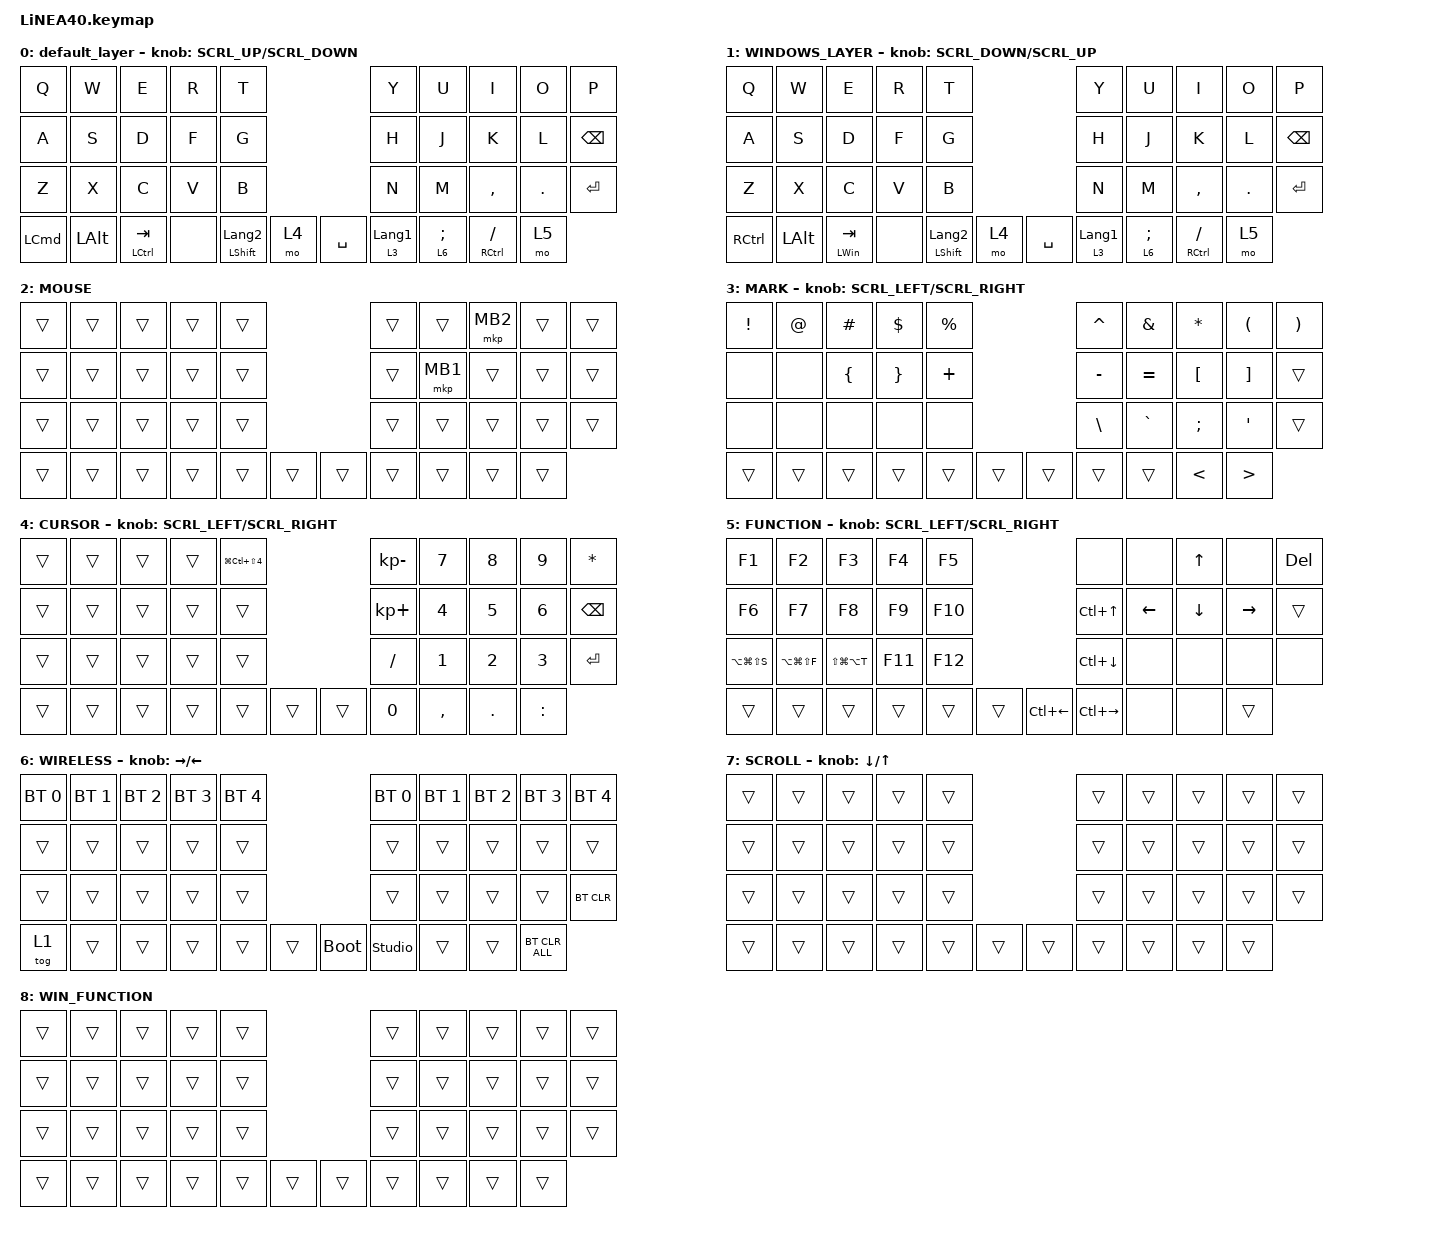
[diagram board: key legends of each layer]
#define ZMK_POINTING_DEFAULT_SCRL_VAL 150

#include <dt-bindings/zmk/input_transform.h>
#include <input/processors.dtsi>
#include <zephyr/dt-bindings/input/input-event-codes.h>
#include <behaviors.dtsi>
#include <dt-bindings/zmk/bt.h>
#include <dt-bindings/zmk/keys.h>
#include <dt-bindings/zmk/pointing.h>

#define WINDOWS_LAYER 1
#define MOUSE 2
#define MARK 3
#define CURSOR 4
#define FUNCTION 5
#define WIRELESS 6
#define SCROLL 7
#define WIN_FUNCTION 8

//mouse cursol

&mmv {
    delay-ms = <20>;
    trigger-period-ms = <5>;
    time-to-max-speed-ms = <100>;
    acceleration-exponent = <2>;
};

//mouse scroll

&msc {
    delay-ms = <3>;
    trigger-period-ms = <3>;
    time-to-max-speed-ms = <100>;
    acceleration-exponent = <0>;
};

/ {
    input_processors {
        zip_wheel_scaler: zip_wheel_scaler {
            compatible = "zmk,input-processor-scaler";
            #input-processor-cells = <2>;
            type = <INPUT_EV_REL>;
            codes = <INPUT_REL_WHEEL>;
            track-remainders;
        };
    };
};

&msc_input_listener {
    speed_up {
        layers = <FUNCTION>;
        input-processors = <&zip_wheel_scaler 3 1>; //スクロールを3倍速にする
    };
};

&trackball_listener {
    //WINDOWS_LAYERでFUNCTION中のスクロール(Macと上下のみ逆にする)
    //scrollerより先に書くことで優先させる
    win_scroller {
        layers = <WIN_FUNCTION>;
        input-processors =
            <&zip_xy_transform (INPUT_TRANSFORM_X_INVERT | INPUT_TRANSFORM_Y_INVERT)>,
            <&zip_xy_to_scroll_mapper>,
            <&zip_scroll_scaler 1 30>;
    };

    scroller {
        layers = <FUNCTION>;
        input-processors =
            <&zip_xy_transform INPUT_TRANSFORM_X_INVERT>,
            //スクロール方向を逆転,,,,,,,,,,,,,,,,
            <&zip_xy_to_scroll_mapper>,
            <&zip_scroll_scaler 1 30>;

        //スクロールの速度を調整
    };
};

/ {
    //WINDOWS_LAYERとFUNCTIONが両方有効な時にWIN_FUNCTIONを有効にする
    conditional_layers {
        compatible = "zmk,conditional-layers";

        win_function {
            if-layers = <WINDOWS_LAYER FUNCTION>;
            then-layer = <WIN_FUNCTION>;
        };
    };

    combos {
        compatible = "zmk,combos";

        ZenkakuHankaku {
            bindings = <&kp TAB>;
            key-positions = <11 12>;
        };

        DeleteKey {
            bindings = <&kp MINUS>;
            key-positions = <7 8>;
        };

        InsertKey {
            bindings = <&none>;
            key-positions = <6 7>;
        };

        CenterClick {
            bindings = <&none>;
            key-positions = <17 16>;
        };

        RightClick {
            bindings = <&none>;
            key-positions = <18 17>;
        };

        PrevClick {
            bindings = <&none>;
            key-positions = <27 28>;
        };

        ClickNext {
            bindings = <&none>;
            key-positions = <26 27>;
        };

        EscCombos {
            bindings = <&kp ESCAPE>;
            key-positions = <1 2>;
        };
    };

    behaviors {
        re_kp: sensor_rotate_kp {
            compatible = "zmk,behavior-sensor-rotate-var";
            #sensor-binding-cells = <2>;
            bindings = <&kp>, <&kp>;
        };

        mouse_scrl: mouse_wheel_scrl {
            compatible = "zmk,behavior-sensor-rotate-var";
            #sensor-binding-cells = <2>;
            bindings = <&msc>, <&msc>;

            tap-ms = <20>;
        };
    };

    keymap {
        compatible = "zmk,keymap";

        default_layer {
            bindings = <
&kp Q             &kp W         &kp E                 &kp R  &kp T                                          &kp Y             &kp U  &kp I       &kp O                    &kp P
&kp A             &kp S         &kp D                 &kp F  &kp G                                          &kp H             &kp J  &kp K       &kp L                    &kp BACKSPACE
&kp Z             &kp X         &kp C                 &kp V  &kp B                                          &kp N             &kp M  &kp COMMA   &kp DOT                  &kp ENTER
&kp LEFT_COMMAND  &kp LEFT_ALT  &mt LEFT_CONTROL TAB  &none  &mt LEFT_SHIFT LANGUAGE_2  &mo 4    &kp SPACE  &lt 3 LANGUAGE_1         &lt 6 SEMI  &mt RIGHT_CONTROL SLASH  &mo 5
            >;

            sensor-bindings = <&mouse_scrl SCRL_UP SCRL_DOWN>;
        };

        WINDOWS_LAYER {
            bindings = <
&kp Q      &kp W         &kp E             &kp R  &kp T                                          &kp Y             &kp U  &kp I       &kp O                    &kp P
&kp A      &kp S         &kp D             &kp F  &kp G                                          &kp H             &kp J  &kp K       &kp L                    &kp BACKSPACE
&kp Z      &kp X         &kp C             &kp V  &kp B                                          &kp N             &kp M  &kp COMMA   &kp DOT                  &kp ENTER
&kp RCTRL  &kp LEFT_ALT  &mt LEFT_WIN TAB  &none  &mt LEFT_SHIFT LANGUAGE_2  &mo 4    &kp SPACE  &lt 3 LANGUAGE_1         &lt 6 SEMI  &mt RIGHT_CONTROL SLASH  &mo 5
            >;

            sensor-bindings = <&mouse_scrl SCRL_DOWN SCRL_UP>;
        };

        MOUSE {
            bindings = <
&trans  &trans  &trans  &trans  &trans                    &trans  &trans    &mkp MB2  &trans  &trans
&trans  &trans  &trans  &trans  &trans                    &trans  &mkp MB1  &trans    &trans  &trans
&trans  &trans  &trans  &trans  &trans                    &trans  &trans    &trans    &trans  &trans
&trans  &trans  &trans  &trans  &trans  &trans    &trans  &trans            &trans    &trans  &trans
            >;
        };

        MARK {
            bindings = <
&kp EXCLAMATION  &kp AT  &kp HASH        &kp DOLLAR       &kp PERCENT                    &kp CARET      &kp AMPERSAND  &kp ASTERISK      &kp LEFT_PARENTHESIS  &kp RIGHT_PARENTHESIS
&none            &none   &kp LEFT_BRACE  &kp RIGHT_BRACE  &kp PLUS                       &kp MINUS      &kp EQUAL      &kp LEFT_BRACKET  &kp RIGHT_BRACKET     &trans
&none            &none   &none           &none            &none                          &kp BACKSLASH  &kp GRAVE      &kp SEMICOLON     &kp SQT               &trans
&trans           &trans  &trans          &trans           &trans       &trans    &trans  &trans                        &trans            &kp LESS_THAN         &kp GREATER_THAN
            >;

            sensor-bindings = <&mouse_scrl SCRL_LEFT SCRL_RIGHT>;
        };

        CURSOR {
            bindings = <
&trans  &trans  &trans  &trans  &kp LG(LC(LS(NUMBER_4)))                    &kp KP_MINUS  &kp N7        &kp N8        &kp N9        &kp ASTERISK
&trans  &trans  &trans  &trans  &trans                                      &kp KP_PLUS   &kp NUMBER_4  &kp N5        &kp NUMBER_6  &kp BACKSPACE
&trans  &trans  &trans  &trans  &trans                                      &kp SLASH     &kp NUMBER_1  &kp NUMBER_2  &kp N3        &kp ENTER
&trans  &trans  &trans  &trans  &trans                    &trans    &trans  &kp NUMBER_0                &kp COMMA     &kp PERIOD    &kp COLON
            >;

            sensor-bindings = <&mouse_scrl SCRL_LEFT SCRL_RIGHT>;
        };

        FUNCTION {
            bindings = <
&kp F1             &kp F2             &kp F3             &kp F4   &kp F5                                 &none                &none           &kp UP_ARROW    &none            &kp DELETE
&kp F6             &kp F7             &kp F8             &kp F9   &kp F10                                &kp LC(UP_ARROW)     &kp LEFT_ARROW  &kp DOWN_ARROW  &kp RIGHT_ARROW  &trans
&kp LA(LG(LS(S)))  &kp LA(LG(LS(F)))  &kp LS(LG(LA(T)))  &kp F11  &kp F12                                &kp LC(DOWN_ARROW)   &none           &none           &none            &none
&trans             &trans             &trans             &trans   &trans   &trans    &kp LC(LEFT_ARROW)  &kp LC(RIGHT_ARROW)                  &none           &none            &trans
            >;

            sensor-bindings = <&mouse_scrl SCRL_LEFT SCRL_RIGHT>;
        };

        WIRELESS {
            bindings = <
&bt BT_SEL 0  &bt BT_SEL 1  &bt BT_SEL 2  &bt BT_SEL 3  &bt BT_SEL 4                         &bt BT_SEL 0    &bt BT_SEL 1  &bt BT_SEL 2  &bt BT_SEL 3  &bt BT_SEL 4
&trans        &trans        &trans        &trans        &trans                               &trans          &trans        &trans        &trans        &trans
&trans        &trans        &trans        &trans        &trans                               &trans          &trans        &trans        &trans        &bt BT_CLR
&tog 1        &trans        &trans        &trans        &trans        &trans    &bootloader  &studio_unlock                &trans        &trans        &bt BT_CLR_ALL
            >;

            sensor-bindings = <&inc_dec_kp RIGHT_ARROW LEFT_ARROW>;
        };

        SCROLL {
            bindings = <
&trans  &trans  &trans  &trans  &trans                    &trans  &trans  &trans  &trans  &trans
&trans  &trans  &trans  &trans  &trans                    &trans  &trans  &trans  &trans  &trans
&trans  &trans  &trans  &trans  &trans                    &trans  &trans  &trans  &trans  &trans
&trans  &trans  &trans  &trans  &trans  &trans    &trans  &trans          &trans  &trans  &trans
            >;

            sensor-bindings = <&inc_dec_kp DOWN_ARROW UP_ARROW>;
        };

        WIN_FUNCTION {
            bindings = <
&trans  &trans  &trans  &trans  &trans                    &trans  &trans  &trans  &trans  &trans
&trans  &trans  &trans  &trans  &trans                    &trans  &trans  &trans  &trans  &trans
&trans  &trans  &trans  &trans  &trans                    &trans  &trans  &trans  &trans  &trans
&trans  &trans  &trans  &trans  &trans  &trans    &trans  &trans          &trans  &trans  &trans
            >;
        };
    };
};
